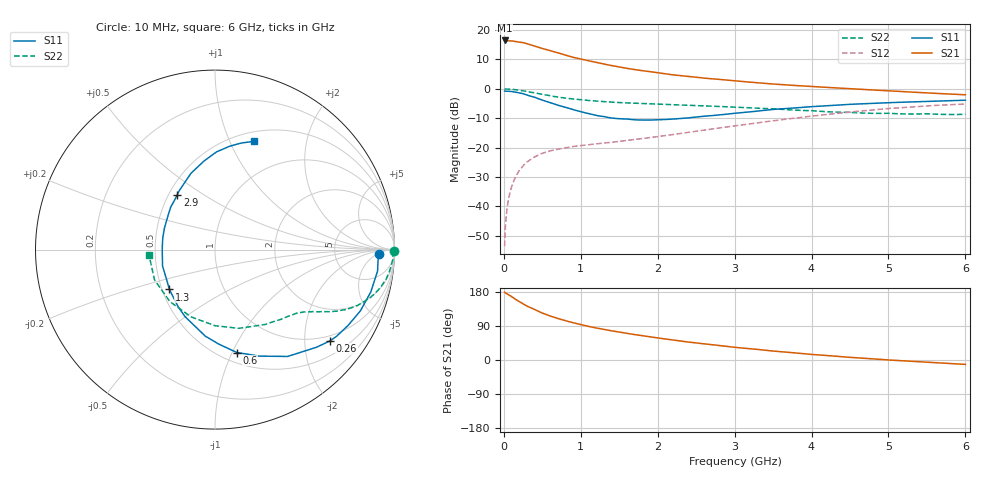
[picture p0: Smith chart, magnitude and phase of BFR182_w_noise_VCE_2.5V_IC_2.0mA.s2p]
! Infineon Technologies  Discrete & RF Semiconductors
! BFR182
! VCE =  2.5 V,  IC =  2.0 mA
! Common Emitter S-Parameters:  Nov 2015
# GHz  S  MA  R  50
!  f  S11  S21  S12  S22
! GHz  MAG  ANG  MAG  ANG  MAG  ANG  MAG  ANG
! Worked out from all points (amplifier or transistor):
!   210 points, 10 MHz to 6 GHz, reference 50 ohm
!   highest |S21| = 16.5 dB at 10 MHz (marker M1)
!   |S21| within 3 dB of that: start of sweep to 538.9 MHz
!   unconditionally stable (mu >= 1): 1.454 GHz to 3.108 GHz
!   at 185 MHz: K = 0.18, MSG = 22.2 dB, |S12| = -28.5 dB
!   at 1.52 GHz: K = 1.02, MAG = 11.8 dB, |S12| = -17.8 dB
!   at 6 GHz: K = 0.90, MSG = 1.6 dB, |S12| = -5.2 dB
!   lowest NFmin = 1.10 dB at 450 MHz
!   S11 on the Smith chart (normalised r, x): 10 MHz: 21, -7; 260 MHz: 0.85, -2.63; 600 MHz: 0.60, -1.04; 1.3 GHz: 0.55, -0.27; 2.9 GHz: 0.55, +0.39; 6 GHz: 0.60, +1.23
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0.01  0.9167 -1.7  6.656 178.9  0.0021 93.9  0.9966 -0.6
0.02  0.9104 -3.1  6.618 177.2  0.0044 85.8  0.9902 -1.3
0.035  0.9113 -5.3  6.591 175.4  0.0077 85.8  0.991 -2.3
0.08  0.9032 -12.1  6.555 169.8  0.0172 82.8  0.9858 -5.2
0.1  0.8996 -15.2  6.561 167.3  0.0213 81.8  0.9822 -6.5
0.15  0.8791 -22.8  6.392 160.0  0.0312 77.0  0.9679 -9.8
0.26  0.818 -38.4  6.074 146.8  0.0504 68.3  0.9203 -15.7
0.3  0.784 -44.0  5.875 142.3  0.0567 66.4  0.9001 -17.6
0.4  0.7198 -55.8  5.345 133.3  0.0694 60.8  0.8535 -21.4
0.5  0.6433 -67.3  4.865 123.8  0.08 56.4  0.8056 -24.4
0.6  0.5863 -78.0  4.498 116.2  0.0878 53.2  0.7604 -26.8
0.7  0.5275 -87.6  4.115 109.6  0.0937 51.0  0.7236 -28.6
0.8  0.4854 -96.4  3.747 103.6  0.0991 49.3  0.6942 -29.8
1.02  0.4026 -115.6  3.171 92.4  0.109 48.0  0.6483 -32.2
1.3  0.3374 -138.8  2.641 80.8  0.1196 48.6  0.6054 -35.0
1.6  0.3065 -162.5  2.228 70.1  0.1321 50.4  0.576 -38.0
2.02  0.2983 167.3  1.862 57.5  0.1552 53.4  0.5481 -43.1
2.9  0.3709 124.5  1.407 35.9  0.2246 55.7  0.4945 -58.2
3.1  0.3939 118.3  1.333 31.7  0.244 55.1  0.4798 -62.8
4.1  0.5058 95.4  1.077 13.3  0.3547 47.8  0.415 -93.7
5.1  0.5869 80.8  0.91 -1.0  0.4714 35.1  0.3776 -135.4
6  0.6404 70.3  0.792 -11.6  0.5526 20.6  0.3688 -175.3
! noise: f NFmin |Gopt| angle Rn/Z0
0.45  1.1  0.42  29  0.36
0.9  1.2  0.4  58  0.3
1.8  1.85  0.32  126  0.22
